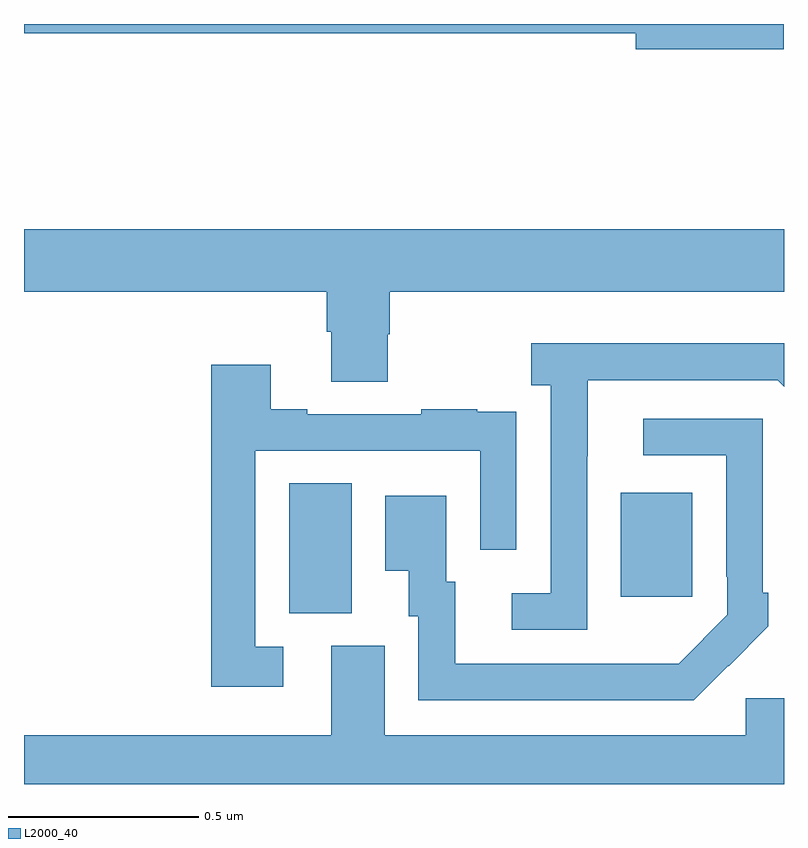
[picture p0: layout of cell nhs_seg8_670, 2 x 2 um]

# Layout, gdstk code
import gdstk
lib = gdstk.Library(unit=1e-6, precision=1e-09)
def R(c, l, rs):  # rectangles x0, y0, x1, y1
    for r in rs: c.add(gdstk.rectangle(r[:2], r[2:], *l))
def P(c, l, *ps):  # polygons
    for p in ps: c.add(gdstk.Polygon(p, *l))
L2000_40 = (2000, 40)

nhs_seg8_670 = lib.new_cell('nhs_seg8_670')
R(nhs_seg8_670, L2000_40, [(120.698,1086.349,120.862,1086.692), (121.571,1086.393,121.759,1086.667)])
P(nhs_seg8_670, L2000_40, [(121.999,1087.9),(120,1087.9),(120,1087.876),(121.61,1087.876),(121.61,1087.834),(121.999,1087.834)],
  [(120.957,1087.083),(120.962,1087.083),(120.962,1087.196),(122,1087.196),(122,1087.36),(120,1087.36),(120,1087.196),(120.797,1087.196),(120.797,1087.09),(120.809,1087.09),(120.809,1086.958),(120.957,1086.958)],
  [(121.482,1086.763),(121.483,1086.763),(121.483,1086.963),(121.983,1086.963),(122,1086.946),(122,1087.06),(121.335,1087.06),(121.335,1086.95),(121.386,1086.95),(121.386,1086.402),(121.284,1086.402),(121.284,1086.306),(121.482,1086.306)],
  [(120.682,1086.261),(120.609,1086.261),(120.609,1086.777),(121.2,1086.777),(121.2,1086.516),(121.296,1086.516),(121.296,1086.77),(121.295,1086.77),(121.295,1086.879),(121.193,1086.879),(121.193,1086.886),(121.045,1086.886),(121.045,1086.873),(120.745,1086.873),(120.745,1086.886),(120.649,1086.886),(120.649,1087.003),(120.493,1087.003),(120.493,1086.156),(120.682,1086.156)],
  [(121.853,1086.211),(121.854,1086.21),(121.959,1086.315),(121.959,1086.403),(121.944,1086.403),(121.944,1086.861),(121.629,1086.861),(121.629,1086.765),(121.848,1086.765),(121.848,1086.445),(121.851,1086.445),(121.851,1086.345),(121.723,1086.217),(121.619,1086.217),(121.619,1086.216),(121.135,1086.216),(121.135,1086.432),(121.111,1086.432),(121.111,1086.658),(120.95,1086.658),(120.95,1086.461),(121.013,1086.461),(121.013,1086.342),(121.038,1086.342),(121.038,1086.12),(121.762,1086.12)],
  [(122,1086.126),(121.899,1086.126),(121.899,1086.028),(120.949,1086.028),(120.949,1086.264),(120.809,1086.264),(120.809,1086.028),(120,1086.028),(120,1085.9),(122,1085.9)])

lib.write_gds('nhs_seg8_670.gds')
